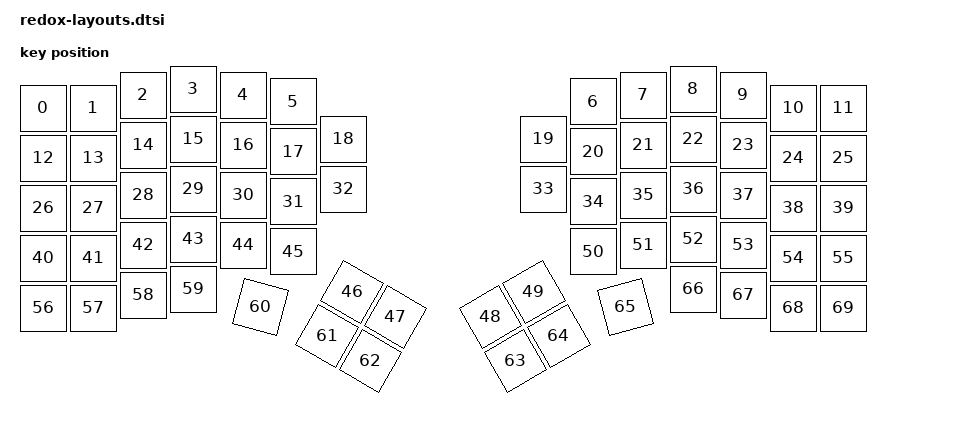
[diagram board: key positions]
#include <physical_layouts.dtsi>

/ {
    redox_layout: redox_layout {
        compatible = "zmk,physical-layout";
        display-name = "Layout";

        transform = <&default_transform>;

        keys  //                     w   h    x    y     rot    rx    ry
            = <&key_physical_attrs 100 100    0   38       0     0     0>
            , <&key_physical_attrs 100 100  100   38       0     0     0>
            , <&key_physical_attrs 100 100  200   12       0     0     0>
            , <&key_physical_attrs 100 100  300    0       0     0     0>
            , <&key_physical_attrs 100 100  400   12       0     0     0>
            , <&key_physical_attrs 100 100  500   25       0     0     0>
            , <&key_physical_attrs 100 100 1100   25       0     0     0>
            , <&key_physical_attrs 100 100 1200   12       0     0     0>
            , <&key_physical_attrs 100 100 1300    0       0     0     0>
            , <&key_physical_attrs 100 100 1400   12       0     0     0>
            , <&key_physical_attrs 100 100 1500   38       0     0     0>
            , <&key_physical_attrs 100 100 1600   38       0     0     0>
            , <&key_physical_attrs 100 100    0  138       0     0     0>
            , <&key_physical_attrs 100 100  100  138       0     0     0>
            , <&key_physical_attrs 100 100  200  112       0     0     0>
            , <&key_physical_attrs 100 100  300  100       0     0     0>
            , <&key_physical_attrs 100 100  400  112       0     0     0>
            , <&key_physical_attrs 100 100  500  125       0     0     0>
            , <&key_physical_attrs 100 100  600  100       0     0     0>
            , <&key_physical_attrs 100 100 1000  100       0     0     0>
            , <&key_physical_attrs 100 100 1100  125       0     0     0>
            , <&key_physical_attrs 100 100 1200  112       0     0     0>
            , <&key_physical_attrs 100 100 1300  100       0     0     0>
            , <&key_physical_attrs 100 100 1400  112       0     0     0>
            , <&key_physical_attrs 100 100 1500  138       0     0     0>
            , <&key_physical_attrs 100 100 1600  138       0     0     0>
            , <&key_physical_attrs 100 100    0  238       0     0     0>
            , <&key_physical_attrs 100 100  100  238       0     0     0>
            , <&key_physical_attrs 100 100  200  212       0     0     0>
            , <&key_physical_attrs 100 100  300  200       0     0     0>
            , <&key_physical_attrs 100 100  400  212       0     0     0>
            , <&key_physical_attrs 100 100  500  225       0     0     0>
            , <&key_physical_attrs 100 100  600  200       0     0     0>
            , <&key_physical_attrs 100 100 1000  200       0     0     0>
            , <&key_physical_attrs 100 100 1100  225       0     0     0>
            , <&key_physical_attrs 100 100 1200  212       0     0     0>
            , <&key_physical_attrs 100 100 1300  200       0     0     0>
            , <&key_physical_attrs 100 100 1400  212       0     0     0>
            , <&key_physical_attrs 100 100 1500  238       0     0     0>
            , <&key_physical_attrs 100 100 1600  238       0     0     0>
            , <&key_physical_attrs 100 100    0  338       0     0     0>
            , <&key_physical_attrs 100 100  100  338       0     0     0>
            , <&key_physical_attrs 100 100  200  312       0     0     0>
            , <&key_physical_attrs 100 100  300  300       0     0     0>
            , <&key_physical_attrs 100 100  400  312       0     0     0>
            , <&key_physical_attrs 100 100  500  325       0     0     0>
            , <&key_physical_attrs 100 100  650  388    3000   650   388>
            , <&key_physical_attrs 100 100  750  388    3000   650   388>
            , <&key_physical_attrs 100 100  850  388 (-3000)  1050   388>
            , <&key_physical_attrs 100 100  950  388 (-3000)  1050   388>
            , <&key_physical_attrs 100 100 1100  325       0     0     0>
            , <&key_physical_attrs 100 100 1200  312       0     0     0>
            , <&key_physical_attrs 100 100 1300  300       0     0     0>
            , <&key_physical_attrs 100 100 1400  312       0     0     0>
            , <&key_physical_attrs 100 100 1500  338       0     0     0>
            , <&key_physical_attrs 100 100 1600  338       0     0     0>
            , <&key_physical_attrs 100 100    0  438       0     0     0>
            , <&key_physical_attrs 100 100  100  438       0     0     0>
            , <&key_physical_attrs 100 100  200  412       0     0     0>
            , <&key_physical_attrs 100 100  300  400       0     0     0>
            , <&key_physical_attrs 100 100  450  425    1500   450   425>
            , <&key_physical_attrs 100 100  600  475    3000   600   475>
            , <&key_physical_attrs 100 100  700  475    3000   600   475>
            , <&key_physical_attrs 100 100  900  475 (-3000)  1100   475>
            , <&key_physical_attrs 100 100 1000  475 (-3000)  1100   475>
            , <&key_physical_attrs 100 100 1150  425 (-1500)  1250   425>
            , <&key_physical_attrs 100 100 1300  400       0     0     0>
            , <&key_physical_attrs 100 100 1400  412       0     0     0>
            , <&key_physical_attrs 100 100 1500  438       0     0     0>
            , <&key_physical_attrs 100 100 1600  438       0     0     0>
            ;
    };
};
